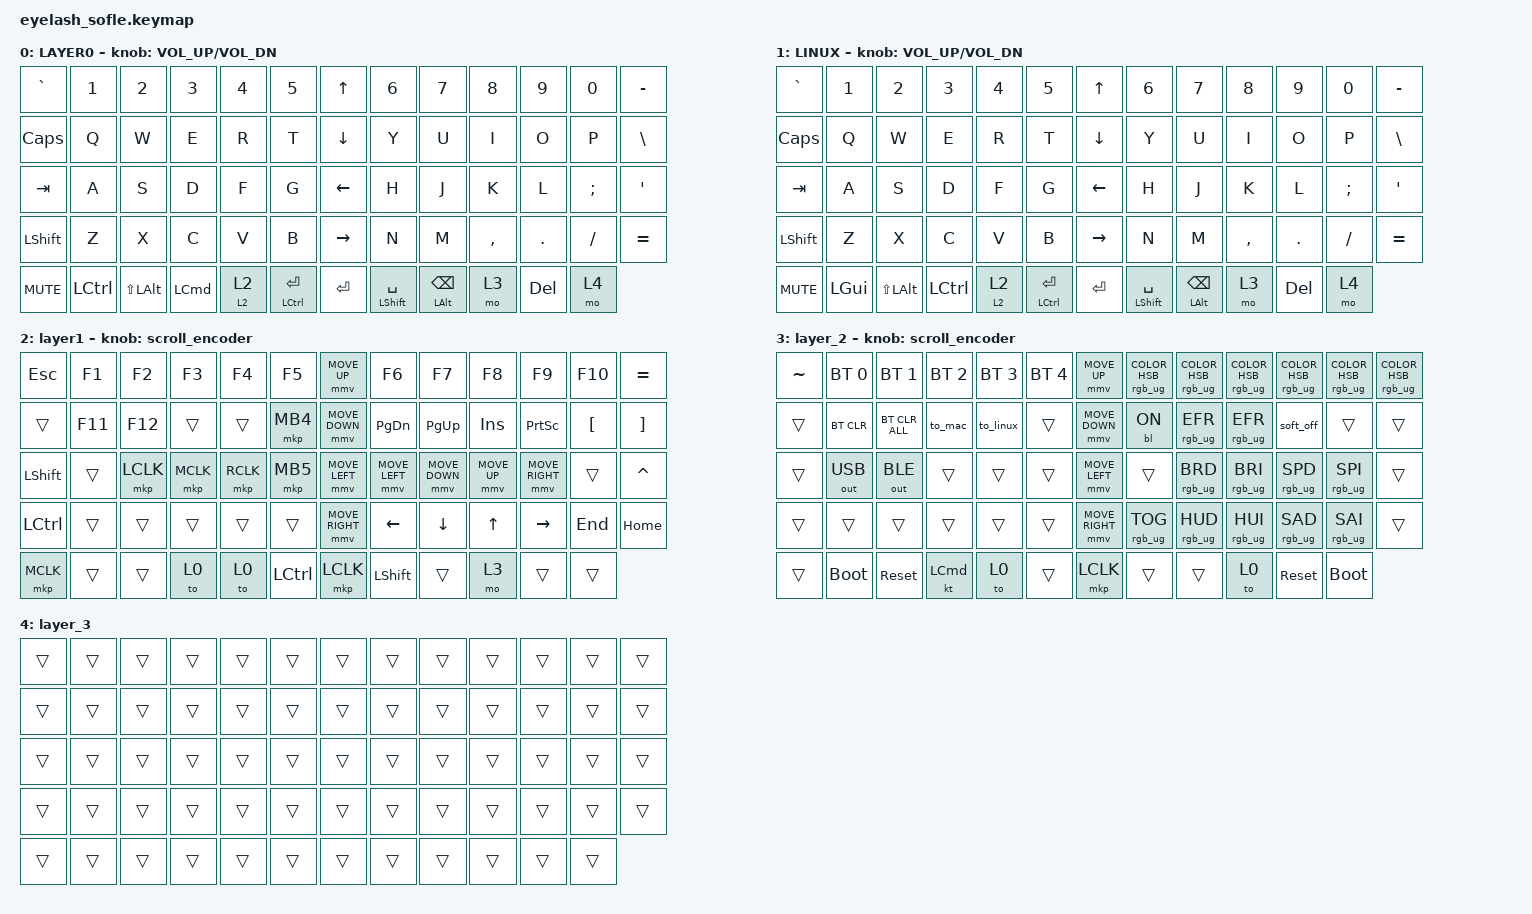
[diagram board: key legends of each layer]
#define ZMK_POINTING_DEFAULT_MOVE_VAL 1200  // 600
#define ZMK_POINTING_DEFAULT_SCRL_VAL 25   // 10

#include <input/processors.dtsi>
#include <zephyr/dt-bindings/input/input-event-codes.h>
#include <behaviors.dtsi>
#include <dt-bindings/zmk/backlight.h>
#include <dt-bindings/zmk/bt.h>
#include <dt-bindings/zmk/keys.h>
#include <dt-bindings/zmk/outputs.h>
#include <dt-bindings/zmk/pointing.h>
#include <dt-bindings/zmk/rgb.h>

&mmv_input_listener { input-processors = <&zip_xy_scaler 2 1>; };

&msc_input_listener { input-processors = <&zip_scroll_scaler 2 1>; };

&msc {
    acceleration-exponent = <1>;      // 0
    time-to-max-speed-ms = <100>;       // 300
    delay-ms = <0>;                   // 0
};

&mmv {
    time-to-max-speed-ms = <500>;
    acceleration-exponent = <1>;
    trigger-period-ms = <16>;
};

/ {
    scroll_encoder: scroll_encoder {
        compatible = "zmk,behavior-sensor-rotate";
        #sensor-binding-cells = <0>;
        bindings = <&msc SCRL_DOWN>, <&msc SCRL_UP>;

        tap-ms = <100>;
    };

    holdtolayer: holdtolayer {
        compatible = "zmk,behavior-hold-tap";
        label = "HOLDTOLAYER";
        bindings = <&mo>, <&tog>;

        #binding-cells = <2>;
        tapping-term-ms = <200>;
    };

    behaviors {
    };

    macros {
        to_mac: to_mac {
            compatible = "zmk,behavior-macro";
            #binding-cells = <0>;
            bindings = <&bt BT_SEL 0>, <&to 0>;
        };
        to_linux: to_linux {
            compatible = "zmk,behavior-macro";
            #binding-cells = <0>;
            bindings = <&bt BT_SEL 1>, <&to 1>;
        };
    };

    keymap {
        compatible = "zmk,keymap";

        layer0 {
            bindings = <
&kp GRAVE       &kp N1            &kp N2        &kp N3            &kp N4            &kp N5             &kp UP_ARROW     &kp N6            &kp N7                  &kp N8     &kp N9      &kp N0    &kp MINUS
&kp CAPSLOCK    &kp Q             &kp W         &kp E             &kp R             &kp T              &kp DOWN_ARROW   &kp Y             &kp U                   &kp I      &kp O       &kp P     &kp BSLH
&kp TAB         &kp A             &kp S         &kp D             &kp F             &kp G              &kp LEFT_ARROW   &kp H             &kp J                   &kp K      &kp L       &kp SEMI  &kp APOS
&kp LEFT_SHIFT  &kp Z             &kp X         &kp C             &kp V             &kp B              &kp RIGHT_ARROW  &kp N             &kp M                   &kp COMMA  &kp DOT     &kp FSLH  &kp EQUAL
&kp C_MUTE      &kp LEFT_CONTROL  &kp LS(LALT)  &kp LEFT_COMMAND  &holdtolayer 2 2  &mt LCTRL ENTER    &kp ENTER        &mt LSHIFT SPACE  &mt LEFT_ALT BACKSPACE  &mo 3      &kp DELETE  &mo 4
            >;

            sensor-bindings = <&inc_dec_kp C_VOLUME_UP C_VOL_DN>;
            display-name = "LAYER0";
        };

        layer4 {
            bindings = <
&kp GRAVE       &kp N1        &kp N2        &kp N3            &kp N4            &kp N5           &kp UP_ARROW     &kp N6            &kp N7                  &kp N8     &kp N9      &kp N0    &kp MINUS
&kp CAPSLOCK    &kp Q         &kp W         &kp E             &kp R             &kp T            &kp DOWN_ARROW   &kp Y             &kp U                   &kp I      &kp O       &kp P     &kp BSLH
&kp TAB         &kp A         &kp S         &kp D             &kp F             &kp G            &kp LEFT_ARROW   &kp H             &kp J                   &kp K      &kp L       &kp SEMI  &kp APOS
&kp LEFT_SHIFT  &kp Z         &kp X         &kp C             &kp V             &kp B            &kp RIGHT_ARROW  &kp N             &kp M                   &kp COMMA  &kp DOT     &kp FSLH  &kp EQUAL
&kp C_MUTE      &kp LEFT_GUI  &kp LS(LALT)  &kp LEFT_CONTROL  &holdtolayer 2 2  &mt LCTRL ENTER  &kp ENTER        &mt LSHIFT SPACE  &mt LEFT_ALT BACKSPACE  &mo 3      &kp DELETE  &mo 4
            >;

            sensor-bindings = <&inc_dec_kp C_VOLUME_UP C_VOL_DN>;
            display-name = "LINUX";
        };

        layer_1 {
            bindings = <
&kp ESC         &kp F1   &kp F2     &kp F3     &kp F4     &kp F5       &mmv MOVE_UP     &kp F6          &kp F7          &kp F8        &kp F9           &kp F10           &kp EQUAL
&trans          &kp F11  &kp F12    &trans     &trans     &mkp MB4     &mmv MOVE_DOWN   &kp PG_DN       &kp PG_UP       &kp INSERT    &kp PRINTSCREEN  &kp LEFT_BRACKET  &kp RIGHT_BRACKET
&kp LEFT_SHIFT  &trans   &mkp LCLK  &mkp MCLK  &mkp RCLK  &mkp MB5     &mmv MOVE_LEFT   &mmv MOVE_LEFT  &mmv MOVE_DOWN  &mmv MOVE_UP  &mmv MOVE_RIGHT  &trans            &kp CARET
&kp LCTRL       &trans   &trans     &trans     &trans     &trans       &mmv MOVE_RIGHT  &kp LEFT        &kp DOWN        &kp UP        &kp RIGHT        &kp END           &kp HOME
&mkp MCLK       &trans   &trans     &to 0      &to 0      &kp LCTRL    &mkp LCLK        &kp LEFT_SHIFT  &trans          &mo 3         &trans           &trans
            >;

            display-name = "layer1";
            sensor-bindings = <&scroll_encoder>;
        };

        layer_2 {
            bindings = <
&kp TILDE  &bt BT_SEL 0  &bt BT_SEL 1    &bt BT_SEL 2      &bt BT_SEL 3  &bt BT_SEL 4    &mmv MOVE_UP     &rgb_ug RGB_COLOR_HSB(153,88,51)  &rgb_ug RGB_COLOR_HSB(236,100,52)  &rgb_ug RGB_COLOR_HSB(295,100,53)  &rgb_ug RGB_COLOR_HSB(168,100,50)  &rgb_ug RGB_COLOR_HSB(51,84,57)  &rgb_ug RGB_COLOR_HSB(33,96,52)
&trans     &bt BT_CLR    &bt BT_CLR_ALL  &to_mac           &to_linux     &trans          &mmv MOVE_DOWN   &bl BL_ON                         &rgb_ug RGB_EFR                    &rgb_ug RGB_EFR                    &soft_off                          &trans                           &trans
&trans     &out OUT_USB  &out OUT_BLE    &trans            &trans        &trans          &mmv MOVE_LEFT   &trans                            &rgb_ug RGB_BRD                    &rgb_ug RGB_BRI                    &rgb_ug RGB_SPD                    &rgb_ug RGB_SPI                  &trans
&trans     &trans        &trans          &trans            &trans        &trans          &mmv MOVE_RIGHT  &rgb_ug RGB_TOG                   &rgb_ug RGB_HUD                    &rgb_ug RGB_HUI                    &rgb_ug RGB_SAD                    &rgb_ug RGB_SAI                  &trans
&trans     &bootloader   &sys_reset      &kt LEFT_COMMAND  &to 0         &trans          &mkp LCLK        &trans                            &trans                             &to 0                              &sys_reset                         &bootloader
            >;

            sensor-bindings = <&scroll_encoder>;
        };

        layer_3 {
            bindings = <
&trans  &trans  &trans  &trans  &trans  &trans    &trans  &trans  &trans  &trans  &trans  &trans  &trans
&trans  &trans  &trans  &trans  &trans  &trans    &trans  &trans  &trans  &trans  &trans  &trans  &trans
&trans  &trans  &trans  &trans  &trans  &trans    &trans  &trans  &trans  &trans  &trans  &trans  &trans
&trans  &trans  &trans  &trans  &trans  &trans    &trans  &trans  &trans  &trans  &trans  &trans  &trans
&trans  &trans  &trans  &trans  &trans  &trans    &trans  &trans  &trans  &trans  &trans  &trans
            >;
        };
    };
};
